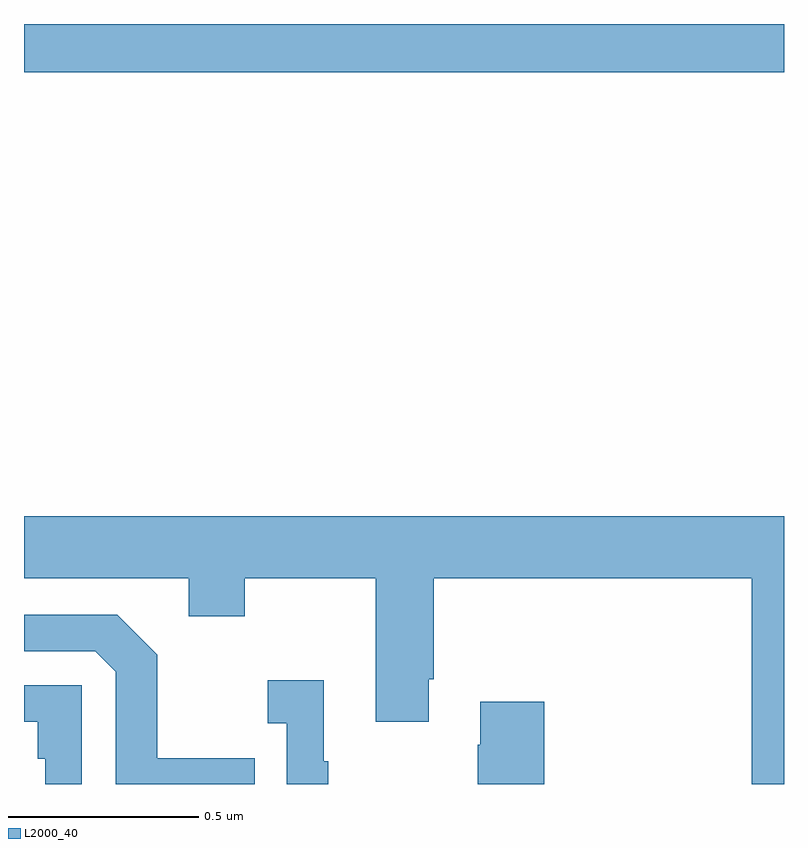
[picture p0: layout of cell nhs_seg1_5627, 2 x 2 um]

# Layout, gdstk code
import gdstk
lib = gdstk.Library(unit=1e-6, precision=1e-09)
def R(c, l, rs):  # rectangles x0, y0, x1, y1
    for r in rs: c.add(gdstk.rectangle(r[:2], r[2:], *l))
def P(c, l, *ps):  # polygons
    for p in ps: c.add(gdstk.Polygon(p, *l))
L2000_40 = (2000, 40)

nhs_seg1_5627 = lib.new_cell('nhs_seg1_5627')
R(nhs_seg1_5627, L2000_40, [(181,545.072,183,545.199)])
P(nhs_seg1_5627, L2000_40, [(183,543.904),(181,543.904),(181,543.74),(181.433,543.74),(181.433,543.641),(181.581,543.641),(181.581,543.74),(181.925,543.74),(181.925,543.363),(182.065,543.363),(182.065,543.475),(182.078,543.475),(182.078,543.74),(182.915,543.74),(182.915,543.199),(183,543.199)],
  [(181.607,543.267),(181.351,543.267),(181.351,543.539),(181.245,543.645),(181,543.645),(181,543.549),(181.188,543.549),(181.242,543.495),(181.242,543.199),(181.607,543.199)],
  [(181.801,543.259),(181.789,543.259),(181.789,543.472),(181.641,543.472),(181.641,543.359),(181.692,543.359),(181.692,543.199),(181.801,543.199)],
  [(181.152,543.459),(181,543.459),(181,543.363),(181.036,543.363),(181.036,543.266),(181.056,543.266),(181.056,543.199),(181.152,543.199)],
  [(182.369,543.415),(182.201,543.415),(182.201,543.302),(182.194,543.302),(182.194,543.199),(182.369,543.199)])

lib.write_gds('nhs_seg1_5627.gds')
